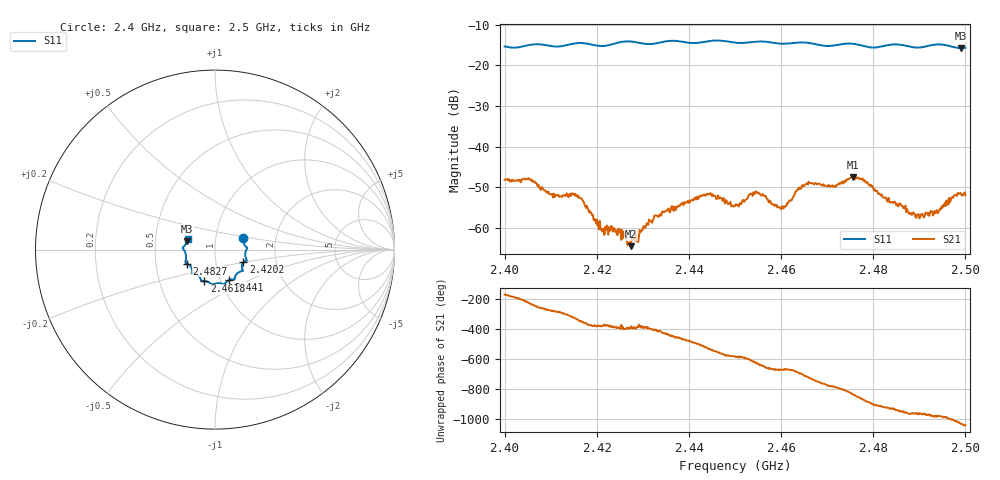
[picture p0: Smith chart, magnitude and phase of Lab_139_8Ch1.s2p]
# Hz S RI R 50
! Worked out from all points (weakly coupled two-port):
!   601 points, 2.4 GHz to 2.5 GHz, reference 50 ohm
!   highest |S21| = -47.46 dB at 2.4755 GHz (marker M1); lowest = -64.5 dB at 2.4273 GHz (marker M2)
!   lowest |S11| = -15.8 dB at 2.499 GHz (marker M3), VSWR 1.39, Z = 36.4 + j3.48 ohm
!   |S11| at or under -10 dB: start of sweep to end of sweep
!   S12 and S22 are empty: the file has one direction only
!   S11 on the Smith chart (normalised r, x): 2.4 GHz: 1.36, +0.18; 2.4202 GHz: 1.36, -0.20; 2.441 GHz: 1.10, -0.39; 2.4618 GHz: 0.84, -0.30; 2.4827 GHz: 0.72, -0.12; 2.5 GHz: 0.73, +0.09
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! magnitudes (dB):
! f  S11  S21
! 2.4 GHz  -15.4  -48.2
! 2.4053 GHz  -15.0  -47.9
! 2.4103 GHz  -15.3  -51.6
! 2.4167 GHz  -14.5  -52.7
! 2.4202 GHz  -15.2  -59.4
! 2.4273 GHz  -14.2  -64.5
! 2.4333 GHz  -14.5  -57.3
! 2.441 GHz  -14.6  -53.2
! 2.4443 GHz  -14.1  -51.7
! 2.45 GHz  -14.5  -54.6
! 2.4545 GHz  -14.2  -51.0
! 2.4597 GHz  -14.7  -54.9
! 2.4618 GHz  -14.6  -53.2
! 2.4667 GHz  -14.6  -49.1
! 2.4713 GHz  -15.2  -49.9
! 2.4755 GHz  -14.7  -47.5
! 2.4827 GHz  -15.2  -52.4
! 2.4833 GHz  -15.0  -52.6
! 2.4897 GHz  -15.7  -56.8
! 2.494 GHz  -14.9  -56.4
! 2.499 GHz  -15.8  -51.4
! 2.5 GHz  -15.7  -51.9
